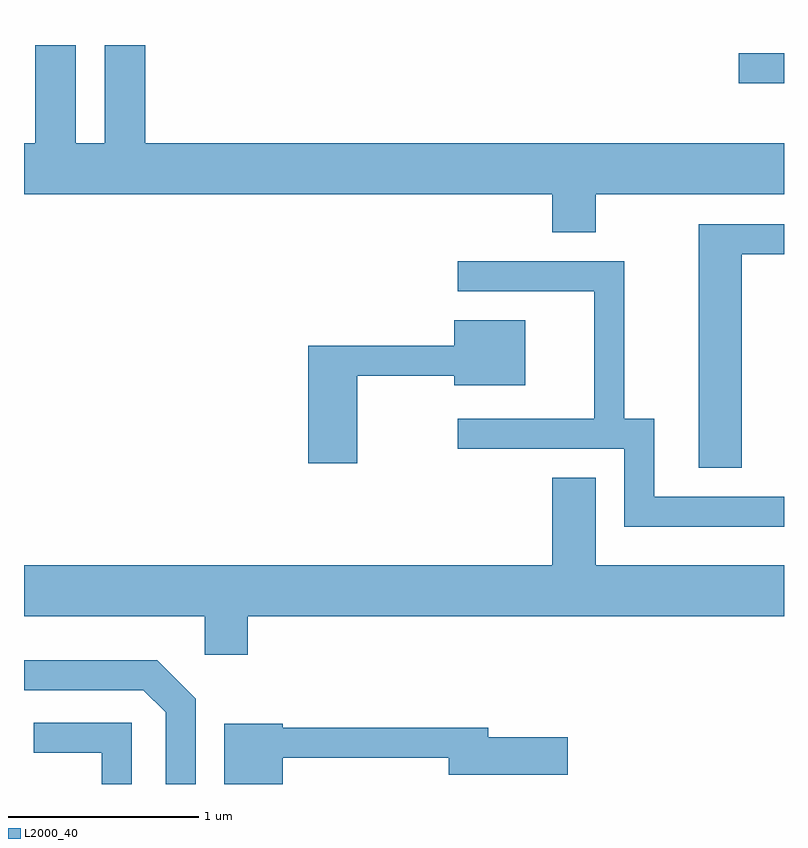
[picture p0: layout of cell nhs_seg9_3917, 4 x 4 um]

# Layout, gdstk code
import gdstk
lib = gdstk.Library(unit=1e-6, precision=1e-09)
def R(c, l, rs):  # rectangles x0, y0, x1, y1
    for r in rs: c.add(gdstk.rectangle(r[:2], r[2:], *l))
def P(c, l, *ps):  # polygons
    for p in ps: c.add(gdstk.Polygon(p, *l))
L2000_40 = (2000, 40)

nhs_seg9_3917 = lib.new_cell('nhs_seg9_3917')
R(nhs_seg9_3917, L2000_40, [(303.373,2050.121,303.611,2050.279), (303.221,2050.431,303.479,2050.432)])
P(nhs_seg9_3917, L2000_40, [(302.619,2049.536),(303.611,2049.536),(303.611,2049.804),(300.249,2049.804),(300.249,2050.319),(300.036,2050.319),(300.036,2049.804),(299.884,2049.804),(299.884,2050.319),(299.671,2050.319),(299.671,2049.804),(299.611,2049.804),(299.611,2049.536),(302.391,2049.536),(302.391,2049.336),(302.619,2049.336)],
  [(303.389,2049.221),(303.611,2049.221),(303.611,2049.379),(303.161,2049.379),(303.161,2048.096),(303.389,2048.096)],
  [(303.611,2047.944),(302.929,2047.944),(302.929,2048.354),(302.769,2048.354),(302.769,2049.184),(301.893,2049.184),(301.893,2049.026),(302.611,2049.026),(302.611,2048.354),(301.893,2048.354),(301.893,2048.196),(302.771,2048.196),(302.771,2047.786),(303.611,2047.786)],
  [(301.364,2048.581),(301.876,2048.581),(301.876,2048.531),(302.249,2048.531),(302.249,2048.874),(301.876,2048.874),(301.876,2048.739),(301.106,2048.739),(301.106,2048.121),(301.364,2048.121)],
  [(300.789,2047.316),(303.611,2047.316),(303.611,2047.584),(302.619,2047.584),(302.619,2048.044),(302.391,2048.044),(302.391,2047.584),(299.611,2047.584),(299.611,2047.316),(300.561,2047.316),(300.561,2047.111),(300.789,2047.111)],
  [(300.514,2046.882),(300.312,2047.084),(299.611,2047.084),(299.611,2046.926),(300.239,2046.926),(300.356,2046.809),(300.356,2046.432),(300.514,2046.432)],
  [(300.179,2046.754),(299.663,2046.754),(299.663,2046.596),(300.021,2046.596),(300.021,2046.432),(300.179,2046.432)],
  [(300.974,2046.571),(301.846,2046.571),(301.846,2046.481),(302.474,2046.481),(302.474,2046.679),(302.054,2046.679),(302.054,2046.729),(300.974,2046.729),(300.974,2046.749),(300.666,2046.749),(300.666,2046.432),(300.974,2046.432)])

lib.write_gds('nhs_seg9_3917.gds')
